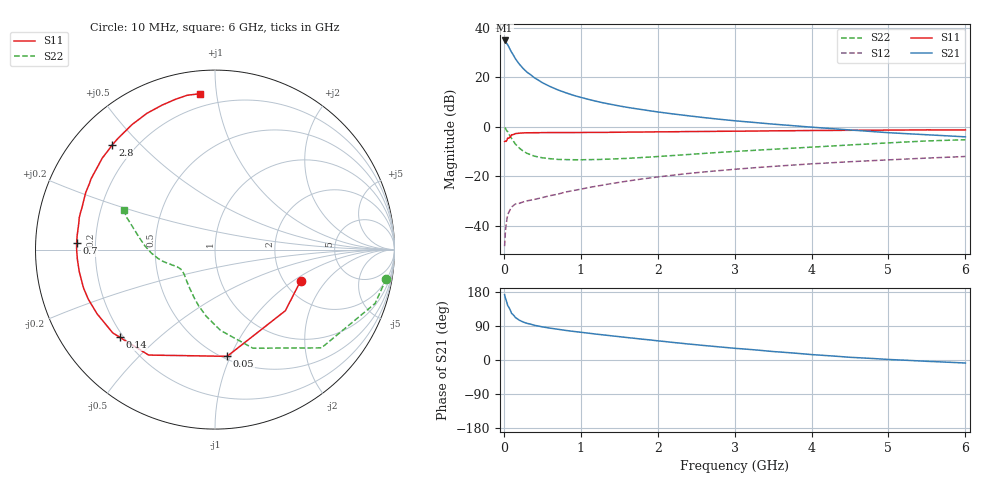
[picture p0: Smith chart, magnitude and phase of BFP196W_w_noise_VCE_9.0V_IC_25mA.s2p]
! Infineon Technologies  Discrete & RF Semiconductors
! BFP196W
! VCE =  9.0 V,  IC =  25 mA
! Common Emitter S-Parameters:  Jan 2017
# GHz  S  MA  R  50
!  f  S11  S21  S12  S22
! GHz  MAG  ANG  MAG  ANG  MAG  ANG  MAG  ANG
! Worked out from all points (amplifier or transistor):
!   77 points, 10 MHz to 6 GHz, reference 50 ohm
!   highest |S21| = 35.0 dB at 10 MHz (marker M1)
!   |S21| within 3 dB of that: start of sweep to 71 MHz
!   unconditionally stable (mu >= 1): 932.2 MHz to 3.2 GHz
!   at 130 MHz: K = 0.27, MSG = 30.2 dB, |S12| = -31.6 dB
!   at 2.2 GHz: K = 1.06, MAG = 10.9 dB, |S12| = -19.5 dB
!   at 6 GHz: K = 0.89, MSG = 4.0 dB, |S12| = -11.9 dB
!   lowest NFmin = 1.07 dB at 450 MHz
!   S11 on the Smith chart (normalised r, x): 10 MHz: 2.46, -1.14; 50 MHz: 0.52, -0.97; 140 MHz: 0.19, -0.38; 700 MHz: 0.13, +0.02; 2.8 GHz: 0.12, +0.42; 6 GHz: 0.12, +0.90
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0.01  0.5084 -19.8  56.05 172.3  0.0039 82.8  0.9682 -9.6
0.02  0.5192 -41.0  54.41 163.7  0.0075 76.9  0.9411 -18.6
0.05  0.5985 -83.5  45.88 143.9  0.0169 57.0  0.8073 -42.7
0.1  0.6943 -122.2  32.51 123.2  0.0241 43.5  0.5883 -69.0
0.14  0.7207 -137.3  25.61 115.0  0.027 39.0  0.4753 -81.8
0.15  0.7347 -140.8  24 112.2  0.0277 38.0  0.4519 -86.0
0.2  0.7483 -151.5  18.72 105.2  0.0286 35.7  0.3757 -97.3
0.25  0.7581 -158.6  15.27 100.3  0.0305 35.0  0.3263 -106.2
0.3  0.7632 -163.8  12.85 96.8  0.0321 35.8  0.2935 -113.1
0.4  0.7662 -170.8  9.791 91.4  0.0344 38.8  0.2569 -123.4
0.5  0.7686 -175.9  7.86 87.4  0.0374 42.0  0.2385 -130.6
0.6  0.7707 -179.7  6.58 84.1  0.0409 44.0  0.2286 -136.0
0.7  0.772 177.2  5.64 81.2  0.0438 47.2  0.2213 -140.0
0.9  0.7718 171.4  4.386 75.6  0.0518 50.1  0.2178 -145.2
1.1  0.777 166.7  3.613 70.8  0.0595 53.2  0.2186 -148.7
1.5  0.783 158.3  2.661 61.6  0.076 55.3  0.2286 -154.4
2.1  0.7981 146.5  1.923 48.6  0.1018 54.4  0.2585 -161.2
2.8  0.8175 134.4  1.434 34.6  0.1313 51.2  0.3062 -168.7
3.1  0.8237 129.7  1.294 29.4  0.1436 49.2  0.3267 -172.2
4.1  0.8497 115.2  0.966 13.0  0.1834 42.5  0.3992 175.4
5.1  0.8666 104.1  0.752 0.5  0.2201 35.0  0.4861 163.5
6  0.8726 95.5  0.632 -8.0  0.2531 28.1  0.5526 156.7
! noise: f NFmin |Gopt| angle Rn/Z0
0.45  1.07  0.43  175  0.05
0.9  1.24  0.51  -179  0.06
1.9  2.11  0.68  -152  0.12
2.4  2.53  0.74  -146  0.21
